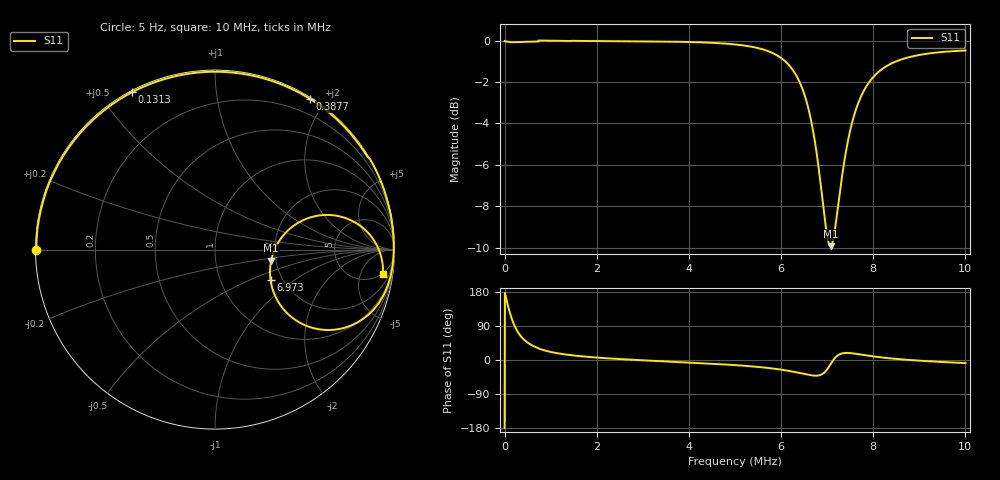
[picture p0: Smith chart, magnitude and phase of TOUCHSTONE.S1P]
!Keysight Technologies,E5061B,MY49912438,B.06.30
!Date: Thu Nov 06 17:45:11 2025
!Data & Calibration Information:
!Freq	S11:SOLT2(ON)
# Hz S MA R 50
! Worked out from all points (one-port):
!   1600 points, 5 Hz to 10 MHz, reference 50 ohm
!   lowest |S11| = -9.9 dB at 7.073 MHz (marker M1), VSWR 1.94, Z = 94.4 - j12.9 ohm
!   |S11| at or under -10 dB: nowhere
!   S11 on the Smith chart (normalised r, x): 5 Hz: 0.00, -0.00; 131.3 kHz: 0.01, +0.60; 387.7 kHz: 0.02, +1.81; 6.973 MHz: 1.73, -0.67; 10 MHz: 5, -12
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5  0.9963 -179.9
56290.15  0.9939 151.1
93813.58  0.9922 133.5
131337  0.9911 117.8
187622.2  0.9908 98.4
256415.1  0.9913 80.3
318954.2  0.9918 68.1
387747.1  0.9924 57.8
531587  0.9936 43.2
731712  0.9945 31.2
963106.5  0.9991 22.3
1250786  0.9982 15.8
1763606  0.9975 8.7
2501567  0.9962 2.5
3752348  0.9933 -5.2
5003129  0.9784 -13.5
5753598  0.9394 -21.5
6253911  0.8493 -30.6
6654161  0.6387 -40.4
6804254  0.5035 -41.0
6973110  0.3532 -28.8
7073172  0.3188 -11.1
7285805  0.4388 15.9
7504692  0.6099 18.2
7748594  0.7382 14.1
8011258  0.8185 9.4
8755473  0.9103 0.3
1e7  0.9461 -8.2
